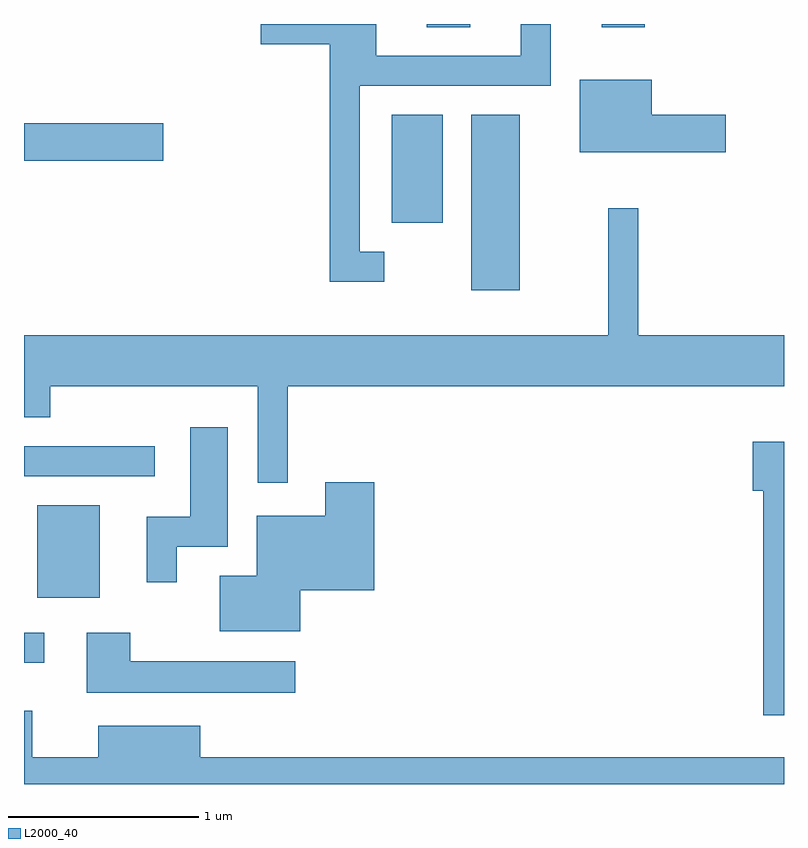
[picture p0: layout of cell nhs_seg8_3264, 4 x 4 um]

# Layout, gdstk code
import gdstk
lib = gdstk.Library(unit=1e-6, precision=1e-09)
def R(c, l, rs):  # rectangles x0, y0, x1, y1
    for r in rs: c.add(gdstk.rectangle(r[:2], r[2:], *l))
def P(c, l, *ps):  # polygons
    for p in ps: c.add(gdstk.Polygon(p, *l))
L2000_40 = (2000, 40)

nhs_seg8_3264 = lib.new_cell('nhs_seg8_3264')
R(nhs_seg8_3264, L2000_40, [(283.611,1814.981,283.718,1815.139), (283.681,1815.321,284.009,1815.809), (283.611,1815.961,284.298,1816.119), (285.966,1816.941,286.219,1817.864), (285.546,1817.296,285.814,1817.864), (283.611,1817.621,284.344,1817.819), (285.731,1818.326,285.959,1818.342), (286.651,1818.326,286.879,1818.342)])
P(nhs_seg8_3264, L2000_40, [(285.508,1817.144),(285.379,1817.144),(285.379,1818.016),(286.384,1818.016),(286.384,1818.342),(286.226,1818.342),(286.226,1818.174),(285.464,1818.174),(285.464,1818.342),(284.856,1818.342),(284.856,1818.236),(285.221,1818.236),(285.221,1816.986),(285.508,1816.986)],
  [(287.304,1817.864),(286.914,1817.864),(286.914,1818.049),(286.536,1818.049),(286.536,1817.666),(287.304,1817.666)],
  [(284.999,1816.436),(287.611,1816.436),(287.611,1816.704),(286.844,1816.704),(286.844,1817.373),(286.686,1817.373),(286.686,1816.704),(283.611,1816.704),(283.611,1816.271),(283.749,1816.271),(283.749,1816.436),(284.841,1816.436),(284.841,1815.928),(284.999,1815.928)],
  [(284.414,1815.591),(284.684,1815.591),(284.684,1816.219),(284.486,1816.219),(284.486,1815.749),(284.256,1815.749),(284.256,1815.403),(284.414,1815.403)],
  [(287.611,1816.144),(287.446,1816.144),(287.446,1815.886),(287.501,1815.886),(287.501,1814.703),(287.611,1814.703)],
  [(285.064,1815.361),(285.454,1815.361),(285.454,1815.929),(285.196,1815.929),(285.196,1815.754),(284.836,1815.754),(284.836,1815.439),(284.641,1815.439),(284.641,1815.146),(285.064,1815.146)],
  [(285.038,1814.989),(284.169,1814.989),(284.169,1815.139),(283.941,1815.139),(283.941,1814.821),(285.038,1814.821)],
  [(287.611,1814.484),(284.539,1814.484),(284.539,1814.649),(284.001,1814.649),(284.001,1814.484),(283.654,1814.484),(283.654,1814.728),(283.611,1814.728),(283.611,1814.342),(287.611,1814.342)])

lib.write_gds('nhs_seg8_3264.gds')
